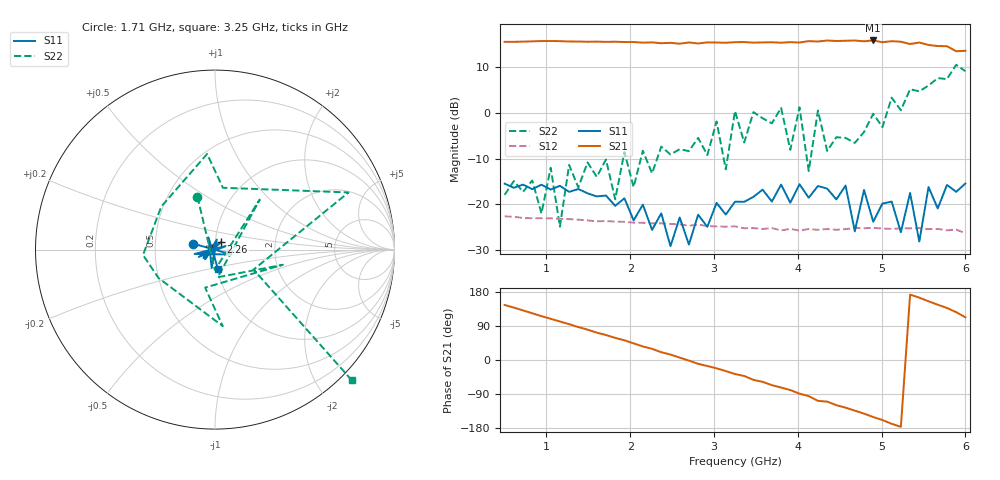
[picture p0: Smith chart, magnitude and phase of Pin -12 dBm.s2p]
! RsaToolbox (C) 2015 Rohde & Schwarz America
! Number of points: 51
! Number of ports: 2
! Balanced ports?: No
# Hz S RI R 50
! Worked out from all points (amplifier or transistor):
!   51 points, 500 MHz to 6 GHz, reference 50 ohm
!   highest |S21| = 15.9 dB at 4.9 GHz (marker M1)
!   |S21| within 3 dB of that: start of sweep to end of sweep
!   unconditionally stable (mu >= 1): start of sweep to 3.006 GHz; 3.046 GHz to 3.218 GHz; 4.292 GHz to 4.795 GHz (the widest 3 of 6)
!   at 1.38 GHz: K = 1.35, MAG = 16.0 dB, |S12| = -23.3 dB
!   at 3.25 GHz: K = 0.08, MSG = 20.2 dB, |S12| = -24.8 dB
!   at 6 GHz: K = -14.88, MSG = 20.0 dB, |S12| = -26.3 dB
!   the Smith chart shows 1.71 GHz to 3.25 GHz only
!   S11 on the Smith chart (normalised r, x): 1.71 GHz: 0.78, +0.05; 2.26 GHz: 1.07, +0.09; 3.25 GHz: 1.01, -0.22
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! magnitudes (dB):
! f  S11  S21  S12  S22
! 500 MHz  -15.5  15.6  -22.6  -17.9
! 940 MHz  -15.7  15.8  -23.0  -22.0
! 1.05 GHz  -16.8  15.8  -23.1  -12.0
! 1.16 GHz  -15.9  15.8  -23.2  -24.9
! 1.27 GHz  -17.3  15.7  -23.2  -11.4
! 1.49 GHz  -17.6  15.6  -23.5  -10.8
! 1.71 GHz  -18.1  15.6  -23.7  -10.2
! 2.26 GHz  -25.6  15.5  -24.1  -13.2
! 2.37 GHz  -22.0  15.3  -24.1  -7.4
! 3.03 GHz  -19.7  15.5  -24.8  -1.8
! 3.14 GHz  -22.2  15.4  -24.9  -12.3
! 3.25 GHz  -19.4  15.5  -24.8  0.4
! 3.91 GHz  -19.6  15.5  -25.4  -8.1
! 4.02 GHz  -15.6  15.5  -25.7  1.3
! 4.13 GHz  -18.5  15.8  -25.4  -12.7
! 4.24 GHz  -16.0  15.7  -25.6  0.6
! 4.35 GHz  -16.5  15.9  -25.4  -8.3
! 4.9 GHz  -23.8  15.9  -25.1  -0.1
! 5.12 GHz  -19.4  15.7  -25.4  3.4
! 5.45 GHz  -28.1  15.5  -25.2  4.8
! 5.56 GHz  -16.2  14.9  -25.4  6.0
! 6 GHz  -15.4  13.6  -26.3  9.2
